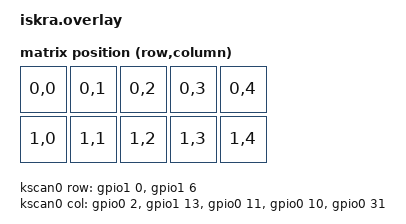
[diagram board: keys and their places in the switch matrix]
#include <dt-bindings/zmk/matrix_transform.h>
#include <physical_layouts.dtsi>
#include <zephyr/dt-bindings/input/input-event-codes.h>

/ {
	chosen {
		zmk,kscan = &kscan0;
		zmk,physical-layout = &iskra_layout;
	};

	iskra_transform: iskra_transform {
		compatible = "zmk,matrix-transform";
		rows = <2>;
		columns = <5>;
		map = <
			RC(0,0) RC(0,1) RC(0,2) RC(0,3) RC(0,4)
			RC(1,0) RC(1,1) RC(1,2) RC(1,3) RC(1,4)
		>;
	};

	iskra_layout: iskra_layout {
		compatible = "zmk,physical-layout";
		display-name = "Default Layout";
		transform = <&iskra_transform>;
		kscan = <&kscan0>;

		keys = <&key_physical_attrs 100 100   0   0 0 0 0>
		     , <&key_physical_attrs 100 100 100   0 0 0 1>
		     , <&key_physical_attrs 100 100 200   0 0 0 2>
		     , <&key_physical_attrs 100 100 300   0 0 0 3>
		     , <&key_physical_attrs 100 100 400   0 0 0 4>
		     , <&key_physical_attrs 100 100   0 100 0 1 0>
		     , <&key_physical_attrs 100 100 100 100 0 1 1>
		     , <&key_physical_attrs 100 100 200 100 0 1 2>
		     , <&key_physical_attrs 100 100 300 100 0 1 3>
		     , <&key_physical_attrs 100 100 400 100 0 1 4>;

	};

	anin0: analog_input_0 {
		compatible = "zmk,analog-input";
		sampling-hz = <100>;

		x-ch {
			io-channels = <&adc 7>;   /* P0.29 */
			mv-mid = <1085>;
			mv-min-max = <1090>;
			mv-deadzone = <120>;
			scale-multiplier = <1>;
			scale-divisor = <120>;
			evt-type = <INPUT_EV_REL>;
			input-code = <INPUT_REL_X>;
		};

		y-ch {
			io-channels = <&adc 2>;   /* P0.04 */
			mv-mid = <1098>;
			mv-min-max = <1090>;
			mv-deadzone = <120>;
			scale-multiplier = <1>;
			scale-divisor = <120>;
			evt-type = <INPUT_EV_REL>;
			input-code = <INPUT_REL_Y>;
		};
};

	input_listener_analog {
		compatible = "zmk,input-listener";
		device = <&anin0>;
	};
	
};

&adc {
	status = "okay";
};

&pro_micro {
	kscan0: kscan {
		compatible = "zmk,kscan-gpio-matrix";
		label = "KSCAN";
		diode-direction = "col2row";
		debounce-press-ms = <5>;
		debounce-release-ms = <5>;

		row-gpios = <&gpio1 0 (GPIO_ACTIVE_LOW | GPIO_PULL_UP)>,
			    <&gpio1 6 (GPIO_ACTIVE_LOW | GPIO_PULL_UP)>;

		col-gpios = <&gpio0 2 GPIO_ACTIVE_LOW>,
			    <&gpio1 13 GPIO_ACTIVE_LOW>,
			    <&gpio0 11 GPIO_ACTIVE_LOW>,
			    <&gpio0 10 GPIO_ACTIVE_LOW>,
			    <&gpio0 31 GPIO_ACTIVE_LOW>;
	};
};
